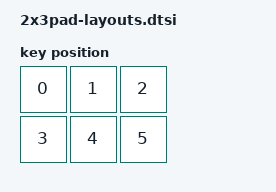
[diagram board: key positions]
#include <physical_layouts.dtsi>

/ {
    physical_layout0: physical_layout0 {
        compatible = "zmk,physical-layout";
        display-name = "2x3pad";

        kscan = <&kscan0>;
        transform = <&matrix_transform0>;

        keys  //                     w   h    x    y     rot    rx    ry
            = <&key_physical_attrs 100 100    0    0       0     0     0>
            , <&key_physical_attrs 100 100  100    0       0     0     0>
            , <&key_physical_attrs 100 100  200    0       0     0     0>
            , <&key_physical_attrs 100 100    0  100       0     0     0>
            , <&key_physical_attrs 100 100  100  100       0     0     0>
            , <&key_physical_attrs 100 100  200  100       0     0     0>
            ;
    };
};

